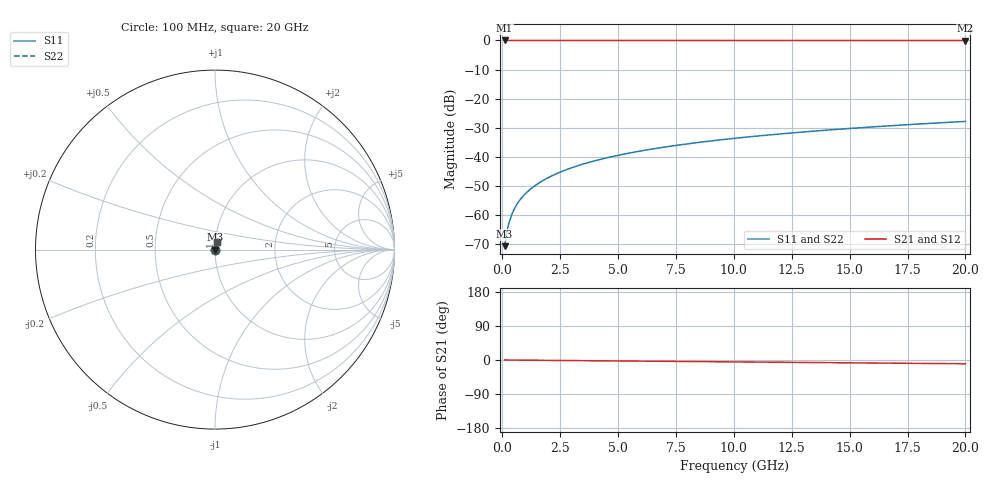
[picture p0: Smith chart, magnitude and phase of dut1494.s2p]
! Touchstone file exported from HFSS 2026.1.0
!  File:  C:/ffzhzh/LocalFiles/Ansys_Project_Files/temp_train_TSV_1494_1783198841_43440.aedt
!  Generated:  05:02:19 AM Jul  5, 2026
!  Design:  TSV
!  Project:  temp_train_TSV_1494_1783198841_43440
! Variables:
!  h_bsmrdl = 2um
!  h_ox = 20um
!  h_rdl = 5um
!  h_sub = 95.75um
!  h_tmrdl = 5um
!  h_tsv = 95.75um
!  h_via = 3um
!  l_bsmrdl = 300um
!  l_sub = 419.24um
!  l_tmrdl = 200um
!  m_sub = 200um
!  pitch = 52.39um
!  r_tsv = 9.62um
!  s_tmrdl = 10um
!  w_bsmrdl = 18um
!  w_sub = 500um
!  w_tmrdl = 12um
!  x_tsv_center1 = 206um
!  x_tsv_center2 = 524um
!  x_tsv_center3 = 736um
!  x_tsv_center4 = 1054um
!  x_tsv_center5 = 1266um
!  x_tsv_center6 = 1584um
# GHz S MA R 50.000000
! Terminal data exported
! Port[1] = TSV1_1_T1
! Port[2] = TSV1_1_T2
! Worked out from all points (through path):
!   200 points, 100 MHz to 20 GHz, reference 50 ohm
!   highest |S21| = 0.00 dB at 100 MHz (marker M1); lowest = 0.0 dB at 20 GHz (marker M2)
!   group delay of S21, straight-line fit = 1.37 ps
!   lowest |S11| = -70.6 dB at 100 MHz (marker M3), VSWR 1.00, Z = 50 + j0.0252 ohm
!   |S11| at or under -10 dB: start of sweep to end of sweep
!   |S22| runs from -70.6 to -27.8 dB; largest |S21 - S12| = 2.3e-15
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0.1  0.0002949 58.8  0.9998 -0.1  0.9998 -0.1  0.0002949 58.8
! Gamma 0 0 0 0
! Port Impedance 50 0 50 0
0.2  0.0005285 71.8  0.9998 -0.1  0.9998 -0.1  0.0005285 71.8
0.3  0.0007696 76.1  0.9998 -0.2  0.9998 -0.2  0.0007696 76.1
0.4  0.001008 78.0  0.9998 -0.2  0.9998 -0.2  0.001008 78.0
0.5  0.001242 79.1  0.9998 -0.3  0.9998 -0.3  0.001242 79.1
0.6  0.001471 79.7  0.9997 -0.3  0.9997 -0.3  0.001471 79.7
0.7  0.001696 80.1  0.9997 -0.4  0.9997 -0.4  0.001696 80.1
0.8  0.001917 80.4  0.9997 -0.4  0.9997 -0.4  0.001917 80.4
1  0.002349 81.0  0.9996 -0.5  0.9996 -0.5  0.002349 81.0
1.4  0.003196 81.8  0.9996 -0.7  0.9996 -0.7  0.003196 81.8
1.7  0.003825 82.3  0.9995 -0.9  0.9995 -0.9  0.003825 82.3
2  0.004452 82.7  0.9995 -1.0  0.9995 -1.0  0.004452 82.7
2.7  0.005915 83.3  0.9994 -1.4  0.9994 -1.4  0.005915 83.3
3.5  0.007581 83.5  0.9993 -1.8  0.9993 -1.8  0.007581 83.5
4.2  0.009033 83.6  0.9993 -2.1  0.9993 -2.1  0.009033 83.6
5  0.01068 83.5  0.9992 -2.5  0.9992 -2.5  0.01068 83.5
6.8  0.01437 83.1  0.999 -3.4  0.999 -3.4  0.01437 83.1
8.3  0.01742 82.7  0.9989 -4.1  0.9989 -4.1  0.01742 82.7
10.1  0.02106 82.1  0.9987 -5.0  0.9987 -5.0  0.02106 82.1
13.4  0.02769 80.8  0.9984 -6.7  0.9984 -6.7  0.02769 80.8
16.7  0.03427 79.4  0.9981 -8.3  0.9981 -8.3  0.03427 79.4
20  0.04077 78.0  0.9977 -9.9  0.9977 -9.9  0.04077 78.0
